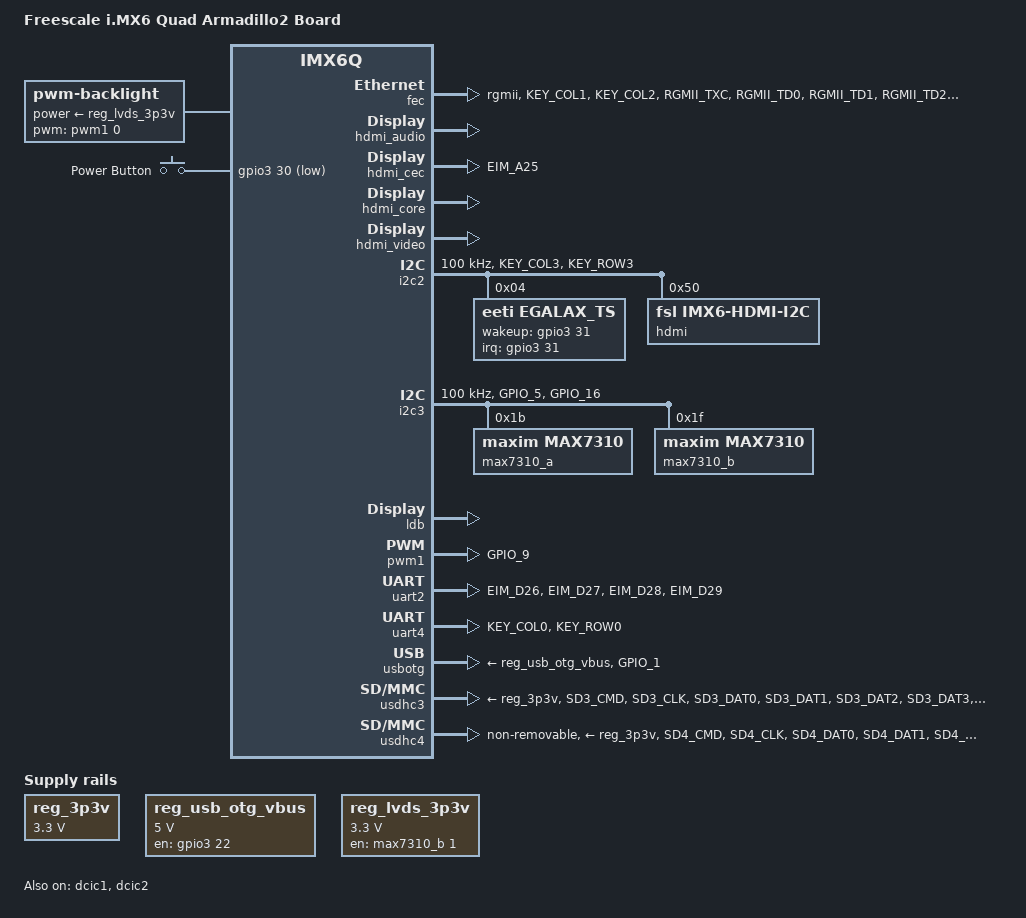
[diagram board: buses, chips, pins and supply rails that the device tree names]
/*
 * Copyright 2015 Freescale Semiconductor, Inc.
 *
 * The code contained herein is licensed under the GNU General Public
 * License. You may obtain a copy of the GNU General Public License
 * Version 2 or later at the following locations:
 *
 * http://www.opensource.org/licenses/gpl-license.html
 * http://www.gnu.org/copyleft/gpl.html
 */

/dts-v1/;
#include <dt-bindings/gpio/gpio.h>
#include "imx6q.dtsi"

/ {
	model = "Freescale i.MX6 Quad Armadillo2 Board";
	compatible = "fsl,imx6q-pop-arm2", "fsl,imx6q";

	aliases {
		mxcfb0 = &mxcfb1;
		mxcfb1 = &mxcfb2;
	};

	pwm-backlight {
		compatible = "pwm-backlight";
		pwms = <&pwm1 0 50000>;
		power-supply = <&reg_lvds_3p3v>;
		brightness-levels =  <
			0  1  2  3  4  5  6  7  8  9
			10 11 12 13 14 15 16 17 18 19
			20 21 22 23 24 25 26 27 28 29
			30 31 32 33 34 35 36 37 38 39
			40 41 42 43 44 45 46 47 48 49
			50 51 52 53 54 55 56 57 58 59
			60 61 62 63 64 65 66 67 68 69
			70 71 72 73 74 75 76 77 78 79
			80 81 82 83 84 85 86 87 88 89
			90 91 92 93 94 95 96 97 98 99
			100
		>;
		default-brightness-level = <94>;
		status = "okay";
	};

	gpio-keys {
		compatible = "gpio-keys";
		pinctrl-names = "default";
		pinctrl-0 = <&pinctrl_gpio_keys>;

		power {
			label = "Power Button";
			gpios = <&gpio3 30 1>;
			linux,code = <116>;
			gpio-key,wakeup;
		};
	};

	hannstar_cabc {
		compatible = "hannstar,cabc";
		lvds_share {
			gpios = <&max7310_a 0 GPIO_ACTIVE_HIGH>;
		};
	};

	memory {
		linux,usable-memory = <0x10000000 0x20000000>,
			<0x80000000 0x20000000>;
	};

	mxcfb1: fb@0 {
		compatible = "fsl,mxc_sdc_fb";
		disp_dev = "ldb";
		interface_pix_fmt = "RGB666";
		default_bpp = <16>;
		int_clk = <0>;
		late_init = <0>;
		status = "okay";
	};

	mxcfb2: fb@1 {
		compatible = "fsl,mxc_sdc_fb";
		disp_dev = "hdmi";
		interface_pix_fmt = "RGB24";
		mode_str = "1920x1080M@60";
		default_bpp = <24>;
		int_clk = <0>;
		late_init = <0>;
		status = "okay";
	};

	sound-hdmi {
		compatible = "fsl,imx6q-audio-hdmi", "fsl,imx-audio-hdmi";
		model = "imx-audio-hdmi";
		hdmi-controller = <&hdmi_audio>;
	};

	regulators {
		compatible = "simple-bus";
		#address-cells = <1>;
		#size-cells = <0>;

		reg_3p3v: regulator@0 {
			compatible = "regulator-fixed";
			reg = <0>;
			regulator-name = "3P3V";
			regulator-min-microvolt = <3300000>;
			regulator-max-microvolt = <3300000>;
			regulator-always-on;
		};

		reg_usb_otg_vbus: regulator@1 {
			compatible = "regulator-fixed";
			reg = <1>;
			regulator-name = "usb_otg_vbus";
			regulator-min-microvolt = <5000000>;
			regulator-max-microvolt = <5000000>;
			gpio = <&gpio3 22 0>;
			enable-active-high;
		};

		reg_lvds_3p3v: regulator@2 {
			compatible = "regulator-fixed";
			reg = <2>;
			regulator-name = "LVDS-3P3V";
			regulator-min-microvolt = <3300000>;
			regulator-max-microvolt = <3300000>;
			gpio = <&max7310_b 1 GPIO_ACTIVE_HIGH>;
			enable-active-high;
			regulator-always-on;
		};
	};
};

&cpu0 {
	fsl,arm-soc-shared = <1>;
};

&busfreq {
	fsl,max_ddr_freq = <400000000>;
};

&dcic1 {
	dcic_id = <0>;
	dcic_mux = "dcic-hdmi";
	status = "okay";
};

&dcic2 {
	dcic_id = <1>;
	dcic_mux = "dcic-lvds0";
	status = "okay";
};

&fec {
	pinctrl-names = "default";
	pinctrl-0 = <&pinctrl_enet>;
	phy-mode = "rgmii";
	status = "okay";
};

&hdmi_audio {
	status = "okay";
};

&hdmi_cec {
	pinctrl-names = "default";
	pinctrl-0 = <&pinctrl_hdmi_cec>;
	status = "okay";
};

&hdmi_core {
	ipu_id = <0>;
	disp_id = <1>;
	status = "okay";
};

&hdmi_video {
	fsl,phy_reg_vlev = <0x0294>;
	fsl,phy_reg_cksymtx = <0x800d>;
	status = "okay";
};

&i2c2 {
	clock-frequency = <100000>;
	pinctrl-names = "default";
	pinctrl-0 = <&pinctrl_i2c2>;
	status = "okay";

	egalax_ts@04 {
		compatible = "eeti,egalax_ts";
		reg = <0x04>;
		pinctrl-names = "default";
		pinctrl-0 = <&pinctrl_egalax_int>;
		interrupt-parent = <&gpio3>;
		interrupts = <31 2>;
		wakeup-gpios = <&gpio3 31 0>;
	};

	hdmi: edid@50 {
		compatible = "fsl,imx6-hdmi-i2c";
		reg = <0x50>;
	};
};

&i2c3 {
	clock-frequency = <100000>;
	pinctrl-names = "default";
	pinctrl-0 = <&pinctrl_i2c3>;
	status = "okay";

	max7310_a: gpio@1b {
		compatible = "maxim,max7310";
		reg = <0x1b>;
		gpio-controller;
		#gpio-cells = <2>;
	};

	max7310_b: gpio@1f {
		compatible = "maxim,max7310";
		reg = <0x1f>;
		gpio-controller;
		#gpio-cells = <2>;
	};
};

&iomuxc {
	pinctrl-names = "default";
	pinctrl-0 = <&pinctrl_hog>;

	imx6q-arm2 {
		pinctrl_hog: hoggrp {
			fsl,pins = <
				MX6QDL_PAD_EIM_D25__GPIO3_IO25 0x80000000
			>;
		};

		pinctrl_enet: enetgrp {
			fsl,pins = <
				MX6QDL_PAD_KEY_COL1__ENET_MDIO		0x1b0b0
				MX6QDL_PAD_KEY_COL2__ENET_MDC		0x1b0b0
				MX6QDL_PAD_RGMII_TXC__RGMII_TXC		0x1b0b0
				MX6QDL_PAD_RGMII_TD0__RGMII_TD0		0x1b0b0
				MX6QDL_PAD_RGMII_TD1__RGMII_TD1		0x1b0b0
				MX6QDL_PAD_RGMII_TD2__RGMII_TD2		0x1b0b0
				MX6QDL_PAD_RGMII_TD3__RGMII_TD3		0x1b0b0
				MX6QDL_PAD_RGMII_TX_CTL__RGMII_TX_CTL	0x1b0b0
				MX6QDL_PAD_ENET_REF_CLK__ENET_TX_CLK	0x1b0b0
				MX6QDL_PAD_RGMII_RXC__RGMII_RXC		0x1b0b0
				MX6QDL_PAD_RGMII_RD0__RGMII_RD0		0x1b0b0
				MX6QDL_PAD_RGMII_RD1__RGMII_RD1		0x1b0b0
				MX6QDL_PAD_RGMII_RD2__RGMII_RD2		0x1b0b0
				MX6QDL_PAD_RGMII_RD3__RGMII_RD3		0x1b0b0
				MX6QDL_PAD_RGMII_RX_CTL__RGMII_RX_CTL	0x1b0b0
			>;
		};

		pinctrl_gpio_keys: gpio_keysgrp {
			fsl,pins = <
				MX6QDL_PAD_EIM_D30__GPIO3_IO30 		0x1b0b0
			>;
		};

		pinctrl_hdmi_cec: hdmicecgrp {
			fsl,pins = <
				MX6QDL_PAD_EIM_A25__HDMI_TX_CEC_LINE 0x108b0
			>;
		};

		pinctrl_hdmi_hdcp: hdmihdcpgrp {
			fsl,pins = <
				MX6QDL_PAD_KEY_COL3__HDMI_TX_DDC_SCL 0x4001b8b1
				MX6QDL_PAD_KEY_ROW3__HDMI_TX_DDC_SDA 0x4001b8b1
			>;
		};

		pinctrl_i2c2: i2c2grp {
			fsl,pins = <
				MX6QDL_PAD_KEY_COL3__I2C2_SCL 		0x4001b8b1
				MX6QDL_PAD_KEY_ROW3__I2C2_SDA 		0x4001b8b1
			>;
		};

		pinctrl_i2c3: i2c3grp {
			fsl,pins = <
				MX6QDL_PAD_GPIO_5__I2C3_SCL 		0x4001b8b1
				MX6QDL_PAD_GPIO_16__I2C3_SDA 		0x4001b8b1
			>;
		};

		pinctrl_egalax_int: egalax_intgrp {
			fsl,pins = <
				MX6QDL_PAD_EIM_D31__GPIO3_IO31 	0x80000000
			>;
		};

		pinctrl_pwm1: pwm1grp {
			fsl,pins = <
				MX6QDL_PAD_GPIO_9__PWM1_OUT 	0x1b0b1
			>;
		};

		pinctrl_uart2: uart2grp {
			fsl,pins = <
				MX6QDL_PAD_EIM_D26__UART2_RX_DATA	0x1b0b1
				MX6QDL_PAD_EIM_D27__UART2_TX_DATA	0x1b0b1
				MX6QDL_PAD_EIM_D28__UART2_DTE_CTS_B	0x1b0b1
				MX6QDL_PAD_EIM_D29__UART2_DTE_RTS_B	0x1b0b1
			>;
		};

		pinctrl_uart4: uart4grp {
			fsl,pins = <
				MX6QDL_PAD_KEY_COL0__UART4_TX_DATA	0x1b0b1
				MX6QDL_PAD_KEY_ROW0__UART4_RX_DATA	0x1b0b1
			>;
		};

		pinctrl_usbotg: usbotggrp {
			fsl,pins = <
				MX6QDL_PAD_GPIO_1__USB_OTG_ID		0x17059
			>;
		};

		pinctrl_usdhc3: usdhc3grp {
			fsl,pins = <
				MX6QDL_PAD_SD3_CMD__SD3_CMD		0x17059
				MX6QDL_PAD_SD3_CLK__SD3_CLK		0x10059
				MX6QDL_PAD_SD3_DAT0__SD3_DATA0		0x17059
				MX6QDL_PAD_SD3_DAT1__SD3_DATA1		0x17059
				MX6QDL_PAD_SD3_DAT2__SD3_DATA2		0x17059
				MX6QDL_PAD_SD3_DAT3__SD3_DATA3		0x17059
				MX6QDL_PAD_SD3_DAT4__SD3_DATA4		0x17059
				MX6QDL_PAD_SD3_DAT5__SD3_DATA5		0x17059
				MX6QDL_PAD_SD3_DAT6__SD3_DATA6		0x17059
				MX6QDL_PAD_SD3_DAT7__SD3_DATA7		0x17059
			>;
		};

		pinctrl_usdhc3_cdwp: usdhc3cdwp {
			fsl,pins = <
				MX6QDL_PAD_NANDF_CS0__GPIO6_IO11 0x80000000
				MX6QDL_PAD_NANDF_CS1__GPIO6_IO14 0x80000000
			>;
		};

		pinctrl_usdhc4: usdhc4grp {
			fsl,pins = <
				MX6QDL_PAD_SD4_CMD__SD4_CMD		0x17059
				MX6QDL_PAD_SD4_CLK__SD4_CLK		0x10059
				MX6QDL_PAD_SD4_DAT0__SD4_DATA0		0x17059
				MX6QDL_PAD_SD4_DAT1__SD4_DATA1		0x17059
				MX6QDL_PAD_SD4_DAT2__SD4_DATA2		0x17059
				MX6QDL_PAD_SD4_DAT3__SD4_DATA3		0x17059
				MX6QDL_PAD_SD4_DAT4__SD4_DATA4		0x17059
				MX6QDL_PAD_SD4_DAT5__SD4_DATA5		0x17059
				MX6QDL_PAD_SD4_DAT6__SD4_DATA6		0x17059
				MX6QDL_PAD_SD4_DAT7__SD4_DATA7		0x17059
			>;
		};
	};
};

&ldb {
	status = "okay";

	lvds-channel@0 {
		fsl,data-mapping = "spwg";
		fsl,data-width = <18>;
		crtc = "ipu2-di0";
		primary;
		status = "okay";

		display-timings {
			native-mode = <&timing0>;
			timing0: hsd100pxn1 {
				clock-frequency = <65000000>;
				hactive = <1024>;
				vactive = <768>;
				hback-porch = <220>;
				hfront-porch = <40>;
				vback-porch = <21>;
				vfront-porch = <7>;
				hsync-len = <60>;
				vsync-len = <10>;
			};
		};
	};
};

&pwm1 {
	pinctrl-names = "default";
	pinctrl-0 = <&pinctrl_pwm1>;
	status = "okay";
};

&uart2 {
	pinctrl-names = "default";
	pinctrl-0 = <&pinctrl_uart2>;
	fsl,dte-mode;
	fsl,uart-has-rtscts;
	status = "okay";
};

&uart4 {
	pinctrl-names = "default";
	pinctrl-0 = <&pinctrl_uart4>;
	status = "okay";
};

&usbotg {
	vbus-supply = <&reg_usb_otg_vbus>;
	pinctrl-names = "default";
	pinctrl-0 = <&pinctrl_usbotg>;
	disable-over-current;
	srp-disable;
	hnp-disable;
	adp-disable;
	status = "okay";
};

&usdhc3 {
	wp-gpios = <&gpio6 14 0>;
	vmmc-supply = <&reg_3p3v>;
	pinctrl-names = "default";
	pinctrl-0 = <&pinctrl_usdhc3
		&pinctrl_usdhc3_cdwp>;
	status = "okay";
};

&usdhc4 {
	non-removable;
	vmmc-supply = <&reg_3p3v>;
	pinctrl-names = "default";
	pinctrl-0 = <&pinctrl_usdhc4>;
	status = "okay";
};
